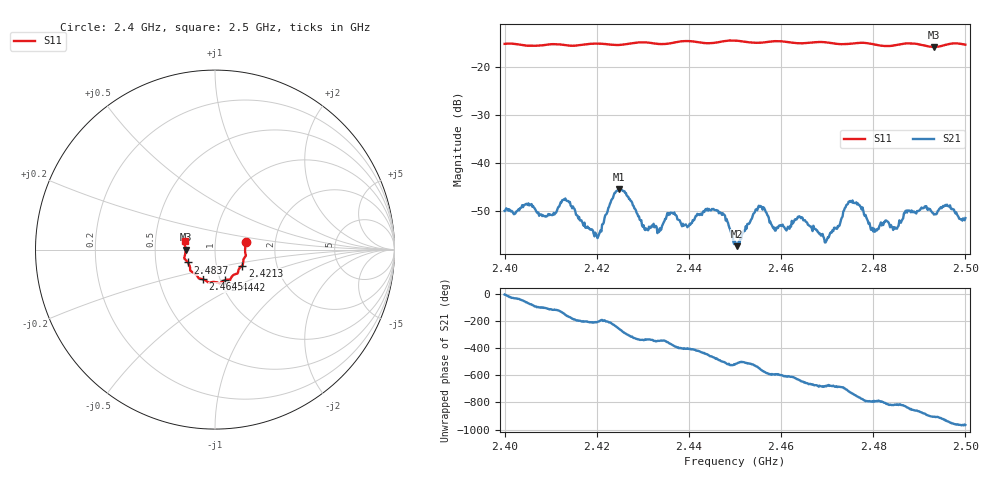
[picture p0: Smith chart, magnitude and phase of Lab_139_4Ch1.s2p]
# Hz S RI R 50
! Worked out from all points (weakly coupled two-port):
!   601 points, 2.4 GHz to 2.5 GHz, reference 50 ohm
!   highest |S21| = -45.30 dB at 2.4248 GHz (marker M1); lowest = -57.2 dB at 2.4505 GHz (marker M2)
!   lowest |S11| = -15.7 dB at 2.4932 GHz (marker M3), VSWR 1.39, Z = 36 - j0.0434 ohm
!   |S11| at or under -10 dB: start of sweep to end of sweep
!   S12 and S22 are empty: the file has one direction only
!   S11 on the Smith chart (normalised r, x): 2.4 GHz: 1.41, +0.12; 2.4213 GHz: 1.33, -0.25; 2.4442 GHz: 1.05, -0.37; 2.4645 GHz: 0.83, -0.29; 2.4837 GHz: 0.73, -0.11; 2.5 GHz: 0.71, +0.07
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2.4e9  0.1713 0.0401  0.00319 -0.000325  0 0  0 0
2.408833e9  0.1696 -0.0246  -0.000719 -0.00274  0 0  0 0
2.413167e9  0.1654 -0.0435  -0.00391 -0.00184  0 0  0 0
2.416667e9  0.1568 -0.0697  -0.00235 0.00102  0 0  0 0
2.421333e9  0.1517 -0.0895  -0.00219 0.000794  0 0  0 0
2.424833e9  0.1348 -0.1059  -0.00112 0.00532  0 0  0 0
2.433333e9  0.1082 -0.1384  0.00193 0.000474  0 0  0 0
2.444167e9  0.0564 -0.1694  -2.81e-05 -0.00322  0 0  0 0
2.447333e9  0.0331 -0.1837  -0.00229 -0.00198  0 0  0 0
2.45e9  0.0249 -0.189  -0.00146 -0.000513  0 0  0 0
2.4505e9  0.0238 -0.1882  -0.00121 -0.000651  0 0  0 0
2.455167e9  -0.00953 -0.1804  -0.0036 0.000444  0 0  0 0
2.458667e9  -0.0313 -0.1853  -0.00113 0.00166  0 0  0 0
2.4645e9  -0.0659 -0.1659  0.000731 0.00265  0 0  0 0
2.466667e9  -0.0827 -0.162  0.00121 0.00171  0 0  0 0
2.47e9  -0.0937 -0.156  0.00115 0.00116  0 0  0 0
2.475167e9  -0.1244 -0.1257  0.00399 -0.000562  0 0  0 0
2.48e9  -0.1384 -0.1063  0.000527 -0.00189  0 0  0 0
2.483333e9  -0.1489 -0.0749  -0.000295 -0.0024  0 0  0 0
2.483667e9  -0.151 -0.0717  -0.000229 -0.00215  0 0  0 0
2.493167e9  -0.1634 -0.000588  -0.00293 0.000241  0 0  0 0
2.5e9  -0.1651 0.0504  -0.00111 0.00246  0 0  0 0
